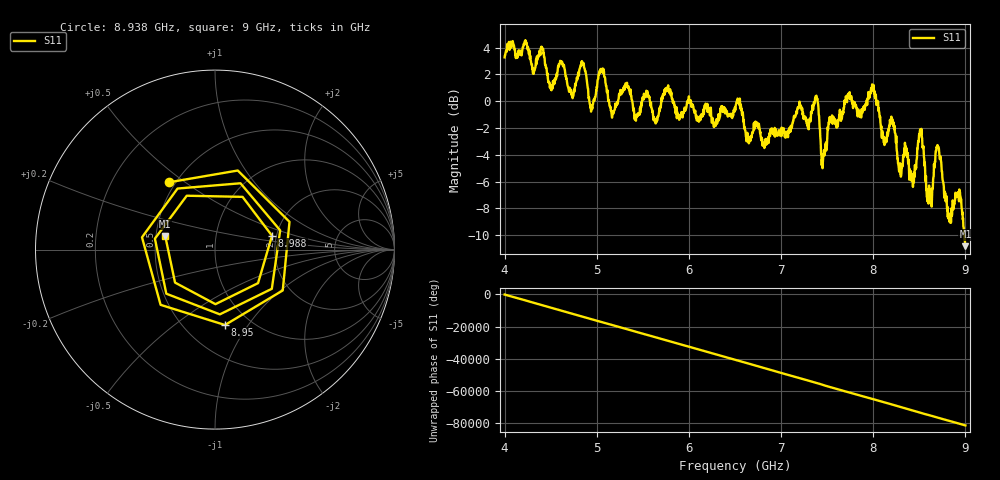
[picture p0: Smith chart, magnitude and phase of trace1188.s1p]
! Created with skrf 1.8.0 (http://scikit-rf.org).
# Hz S RI R 50.0
!freq ReS11 ImS11
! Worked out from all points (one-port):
!   1601 points, 4 GHz to 9 GHz, reference 50 ohm
!   lowest |S11| = -10.8 dB at 9 GHz (marker M1), VSWR 1.81, Z = 28 + j4.67 ohm
!   |S11| at or under -10 dB: 8.98937 GHz to end of sweep
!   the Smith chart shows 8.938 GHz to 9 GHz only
!   S11 on the Smith chart (normalised r, x): 8.938 GHz: 0.46, +0.44; 8.95 GHz: 0.77, -0.79; 8.988 GHz: 1.89, +0.33; 9 GHz: 0.56, +0.09
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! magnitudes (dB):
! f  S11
! 4 GHz  3.3
! 4.506 GHz  1.0
! 4.625 GHz  2.9
! 4.731 GHz  0.4
! 4.853 GHz  2.8
! 4.938 GHz  -0.8
! 5.047 GHz  2.2
! 5.162 GHz  -1.0
! 5.25 GHz  0.5
! 5.875 GHz  -1.1
! 6.5 GHz  -0.5
! 6.822 GHz  -3.2
! 7.125 GHz  -1.6
! 7.381 GHz  0.4
! 7.459 GHz  -4.0
! 7.75 GHz  0.2
! 7.997 GHz  0.9
! 8.112 GHz  -2.8
! 8.375 GHz  -3.9
! 8.438 GHz  -6.1
! 8.512 GHz  -2.1
! 8.6 GHz  -7.6
! 8.7 GHz  -3.4
! 8.822 GHz  -8.5
! 8.938 GHz  -6.8
! 8.95 GHz  -7.5
! 8.988 GHz  -9.7
! 9 GHz  -10.8
